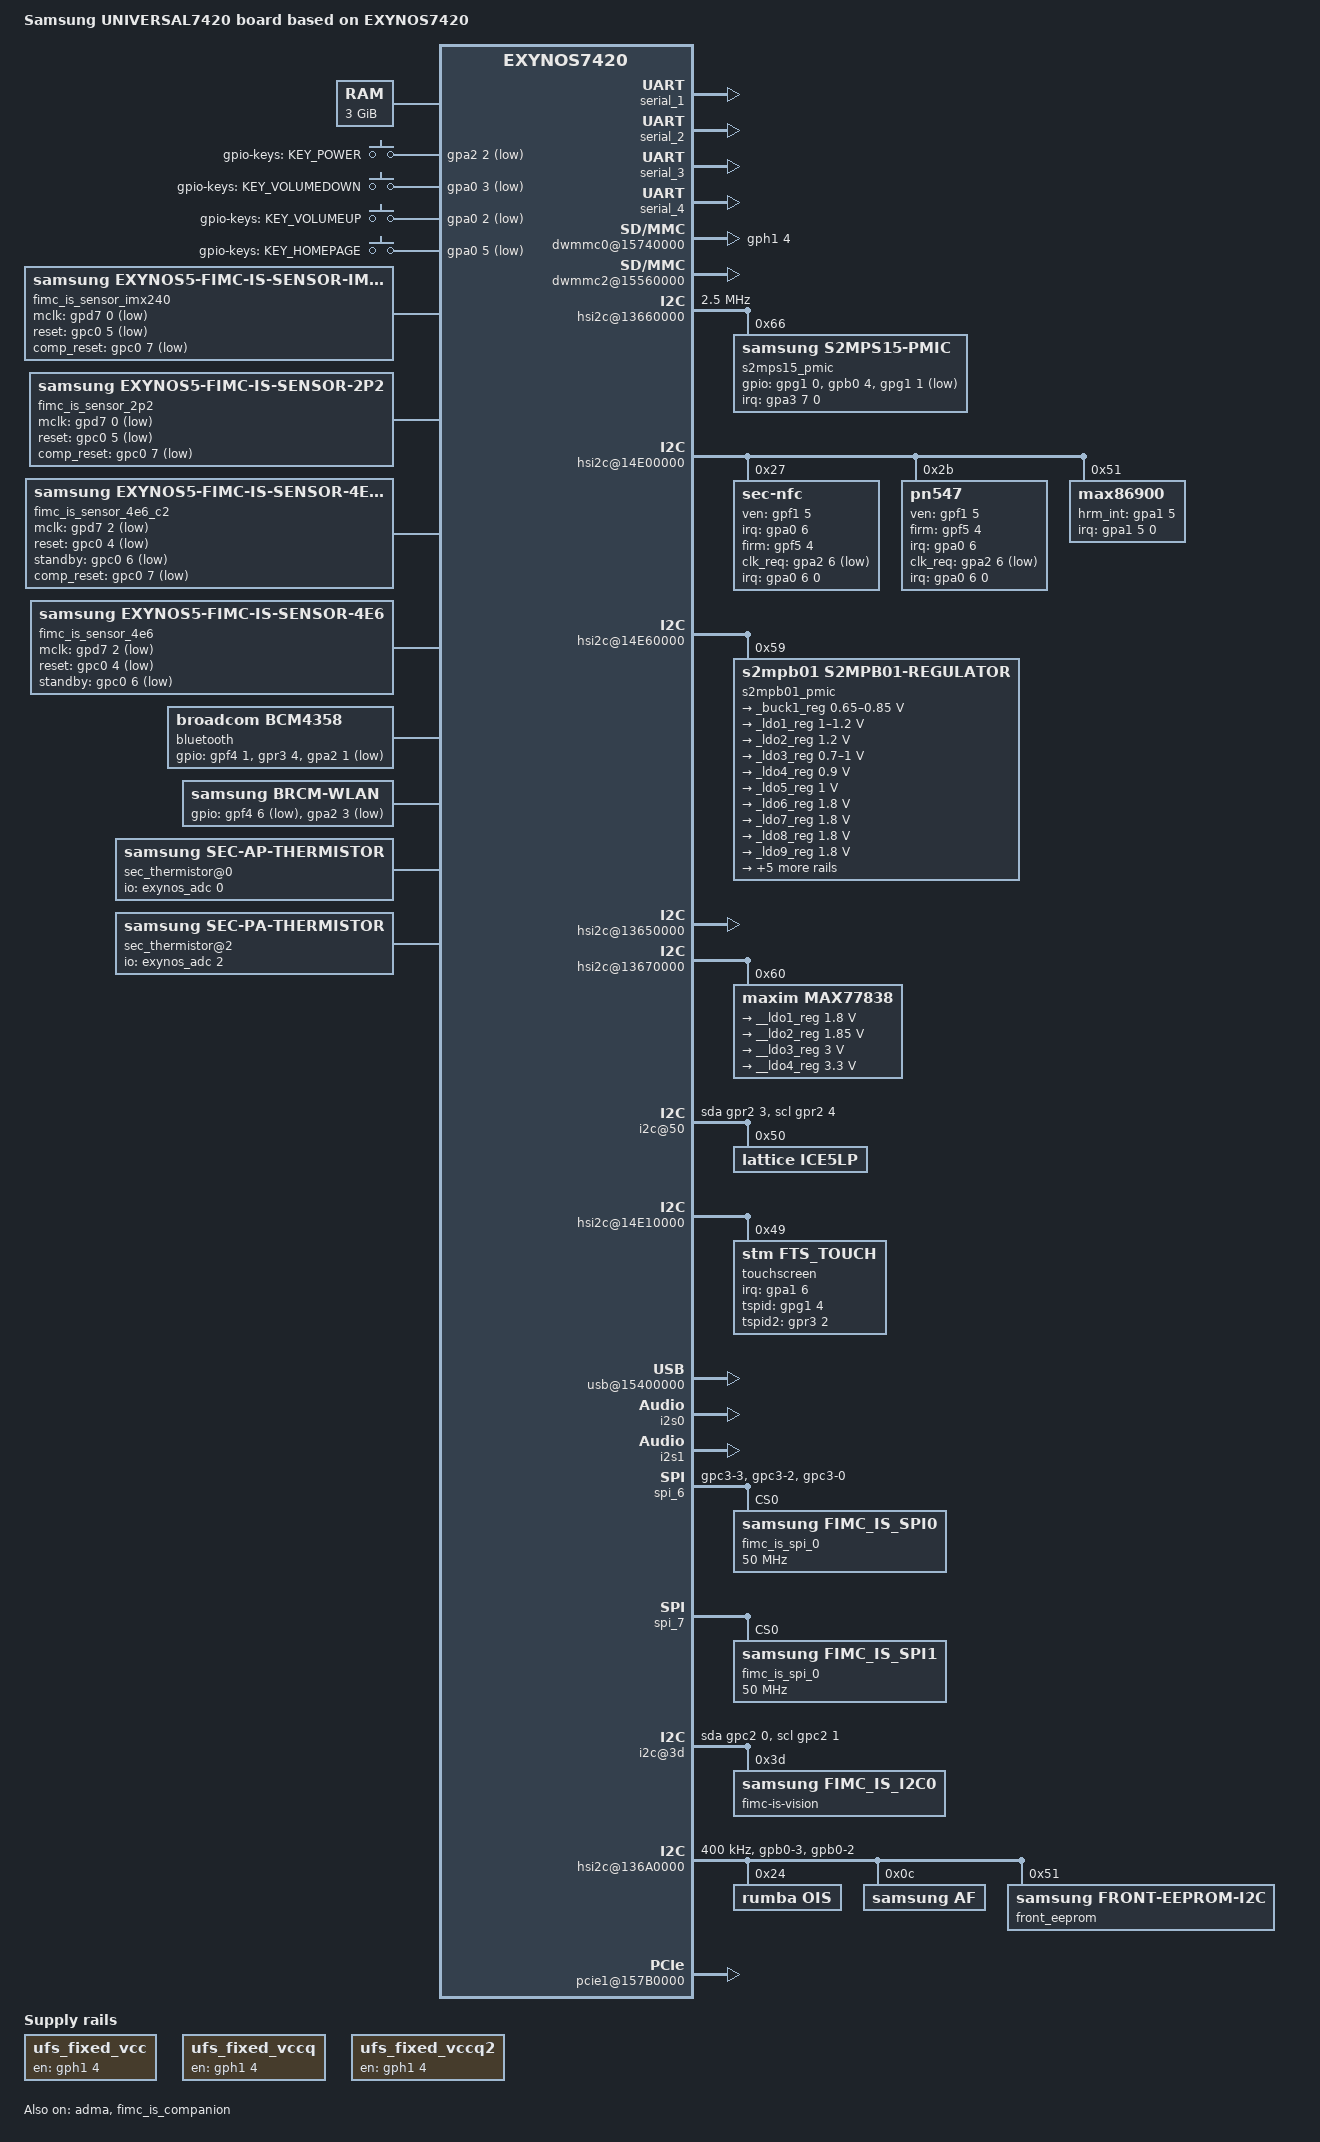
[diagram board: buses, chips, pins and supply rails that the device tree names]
/*
 * SAMSUNG UNIVERSAL7420 board device tree source
 *
 * Copyright (c) 2014 Samsung Electronics Co., Ltd.
 *		http://www.samsung.com
 *
 * This program is free software; you can redistribute it and/or modify
 * it under the terms of the GNU General Public License version 2 as
 * published by the Free Software Foundation.
*/

#include "exynos7420.dtsi"

/ {
	model = "Samsung UNIVERSAL7420 board based on EXYNOS7420";
	compatible = "samsung,exynos7420", "samsung,UNIVERSAL7420";

	memory@40000000 {
		device_type = "memory";
		reg = <0x40000000 0xC0000000>;
	};

	reserved-memory {
		#address-cells = <1>;
		#size-cells = <1>;
		ranges;

		common {
			compatible = "exynos5433-ion,common";
			size = <0x600000>;
			alignment = <0x1000>;
			id = <0>;
		};

		video {
			compatible = "exynos5433-ion,video";
			secure;
			reg = <0xE2A00000 0xE400000>;
			id = <11>;
			compat-id = <4 5 6 7>;
		};

		video_ext {
			compatible = "exynos5433-ion,video_ext";
			secure;
			reg = <0xF0E00000 0x600000>;
			id = <1>;
		};

		mfc_fw {
			compatible = "exynos5433-ion,mfc_fw";
			secure;
			reg = <0xE2800000 0x200000>;
			id = <8>;
		};

		mfc_nfw {
			compatible = "exynos5433-ion,mfc_nfw";
			reg = <0xE2600000 0x110000>;
			id = <12>;
		};

		secdma {
			compatible = "exynos5433-ion,secdma";
			size = <0x40000>;
			alignment = <0x40000>;
			id = <13>;
		};

		mipi_lli_reserved: mipi_lli {
			compatible = "mipi-lli-shmem";
			#memory-region-cells = <0>;
			size = <0x800000>;
			alignment = <0x800000>;
		};

		iram_vector {
			compatible = "mali,iram-vector";
			reg = <0xF2A00000 0x200000>;
		};

		sss_debug {
			compatible = "secure,sss-debug";
			reg = <0xF2C00000 0x100000>;
		};
	};

	aliases {
		spi0 = &spi_0;
		spi1 = &spi_1;
		spi2 = &spi_2;
		spi3 = &spi_3;
		spi4 = &spi_4;
		spi5 = &spi_5;
		spi6 = &spi_6;
		spi7 = &spi_7;
	};

	chosen {
		bootargs = "console=ttySAC1,115200n8 ess_setup=0x46000000";
		linux,initrd-start = <0x42000000>;
		linux,initrd-end = <0x420FFFFF>;
	};

	fixed-rate-clocks {
		oscclk {
			compatible = "samsung,exynos7420-oscclk";
			clock-frequency = <24000000>;
		};
	};

	ion {
		compatible = "samsung,exynos5430-ion";
	};

	serial_1: uart@14C20000 {
		/* Enable UART channel for debug port */
		status = "okay";
	};

	serial_2: uart@14C30000 {
		status = "okay";
	};

	serial_3: uart@14C40000 {
		status = "okay";
	};

	serial_4: uart@11460000 {
		pinctrl-0 = <&uart_bt_active &uart_bt_output_sleep &uart_bt_input_sleep>;
		status = "okay";
	};
	dwmmc0@15740000 {
		status = "okay";
		num-slots = <1>;
		broken-cd;
		use-smu;
		fixed_volt;
		biu-clock-gate;
		clock-gate;
		enable-cclk-on-suspend;
		only_once_tune;
		use-fine-tuning;
		bypass-for-allpass;
		supports-highspeed;
		supports-hs200-mode;
		supports-ddr200-mode;
		enable-cache-control;
		use-enable-shift;
		qos_int_level = <468000>;
		desc-size = <3>;
		fifo-depth = <0x40>;
		card-detect-delay = <200>;
		samsung,dw-mshc-ciu-div = <3>;
		samsung,dw-mshc-sdr-timing = <3 0 2 0>;
		samsung,dw-mshc-ddr-timing = <3 0 3 2>;
		samsung,dw-mshc-hs200-timing = <3 0 3 1>;
		samsung,dw-mshc-ddr200-timing = <1 0 2 2>;
		samsung,dw-mshc-ddr200-delay-line = <118>;
		clk_pin = "gpr0-0";
		clk_addr = "15690000.pinctrl";
		clk_val = <0x4>;
		clk_str_num = <6>;
		num-ref-clks = <8>;
		ciu_clkin = <25 50 50 100 200 100 200 400>;
		pinctrl-names = "default";
		pinctrl-0 = <&sd0_clk &sd0_cmd &sd0_rdqs &sd0_bus1 &sd0_bus4 &sd0_bus8>;
		gpios = <&gph1 4 0>;
		slot@0 {
			reg = <0>;
			bus-width = <8>;
		};
	};

	dwmmc2@15560000 {
		status = "okay";
		num-slots = <1>;
		supports-highspeed;
		enable-cclk-on-suspend;
		cd-type = <0>;
		bypass-smu;
		biu-clock-gate;
		clock-gate;
		use-fine-tuning;
		fifo-depth = <0x40>;
		card-detect-delay = <200>;
		qos_int_level = <468000>;
		desc-size = <3>;
		bypass-for-allpass;
		fix-fmp-size-mismatch;
		not-allow-single-dma;
		samsung,dw-mshc-ciu-div = <3>;
		samsung,dw-mshc-sdr-timing = <3 0 3 2>;
		samsung,dw-mshc-ddr-timing = <3 0 2 1>;
		clk_pin = "gpr4-0";
		clk_addr = "10E60000.pinctrl";
		clk_val = <0x2>;
		clk_str_num = <6>;
		num-ref-clks = <8>;
		ciu_clkin = <25 50 50 100 200 100 200 400>;
		pinctrl-names = "default";
		pinctrl-0 = <&sd2_clk &sd2_cmd &sd2_bus1 &sd2_bus4>;
		gpio-controller;
		#gpio-cells = <2>;
		cd-gpio = <&gpa2 4 0xf>;

		slot@0 {
			reg = <0>;
			bus-width = <4>;
			disable-wp;
		};
	};

	pinctrl@10580000 {
		hall_irq: hall-irq {
			samsung,pins = "gpa0-1";
			samsung,pin-function = <0xf>;
			samsung,pin-pud = <0>;
			samsung,pin-drv = <0>;
		};

		certify_hall_irq: certify-hall-irq {
                        samsung,pins = "gpa0-4";
                        samsung,pin-function = <0xf>;
                        samsung,pin-pud = <0>;
                        samsung,pin-drv = <0>;
                };

		pmic_irq: pmic-irq {
			samsung,pins = "gpa3-7";
			samsung,pin-pud = <3>;
			samsung,pin-drv = <3>;
		};

		ssp_host_req: ssp-host-req {
			samsung,pins = "gpa3-6";
			samsung,pin-function = <0xf>;
			samsung,pin-pud = <1>;
			samsung,pin-drv = <3>;
		};

		ssp_host_wake: ssp-host-wake {
			samsung,pins = "gpa3-2";
			samsung,pin-function = <0>;
			samsung,pin-pud = <3>;
			samsung,pin-drv = <3>;
		};

		ssp_host_wake_irq: ssp-host-wake-irq {
			samsung,pins = "gpa3-2";
			samsung,pin-function = <0xf>;
			samsung,pin-pud = <1>;
			samsung,pin-drv = <3>;
		};
	};

	pinctrl@14870000 {
		ssp_gps_pwr_en: ssp-gps-pwr-en {
			samsung,pins = "gpf4-7";
			samsung,pin-function = <1>;
			samsung,pin-pud = <0>;
			samsung,pin-drv = <3>;
		};

		ssp_mcu_req: ssp-mcu-req {
			samsung,pins = "gpf4-5";
			samsung,pin-function = <1>;
			samsung,pin-pud = <0>;
			samsung,pin-drv = <3>;
		};

		ssp_mcu_resp: ssp-mcu-resp {
			samsung,pins = "gpf4-4";
			samsung,pin-function = <0>;
			samsung,pin-pud = <3>;
			samsung,pin-drv = <3>;
		};
	};

	pinctrl@13470000 {
		spi1_mosi_sck_ssn: spi1-mosi-sck-ssn {
			samsung,pins = "gpd6-2", "gpd6-3", "gpd6-5";
			samsung,pin-function = <2>;
			samsung,pin-pud = <3>;
			samsung,pin-drv = <3>;
		};

		spi1_miso: spi1-miso {
			samsung,pins = "gpd6-4";
			samsung,pin-function = <2>;
			samsung,pin-pud = <1>;
			samsung,pin-drv = <3>;
		};

		fimc_is_flash_host: fimc-is-flash-host {
			samsung,pins = "gpc0-2", "gpc0-3";
			samsung,pin-function = <1>;
			samsung,pin-pud = <1>;
			samsung,pin-drv = <0>;
		};

		fimc_is_flash_is: fimc-is-flash-is {
			samsung,pins = "gpc0-2", "gpc0-3";
			samsung,pin-function = <2>;
			samsung,pin-pud = <1>;
			samsung,pin-drv = <0>;
		};

		fimc_is_comp_int: fimc-is-comp-int {
			samsung,pins = "gpc0-0";
			samsung,pin-function = <0xf>;
			samsung,pin-pud = <0>;
			samsung,pin-drv = <0>;
		};

		fimc_is_spi_pin0: fimc-is-spi-pin0 {
			samsung,pins = "gpc3-3", "gpc3-2", "gpc3-0";
			samsung,pin-function = <0>;
			samsung,pin-pud = <1>;
			samsung,pin-drv = <3>;
		};
	};

	pinctrl@14870000 {
		g3d_dvs: g3d-dvs {
			samsung,pins = "gpg1-1";
			samsung,pin-function = <0x2>;
		};

		/* Warm reset information from AP */
		pm_wrsti: pm-wrsti {
			samsung,pins = "gpf3-0";
			samsung,pin-con-pdn = <3>;
		};

		/* smpl_warn */
		smpl_warn: smpl-warn {
			samsung,pins = "gpg1-0";
			samsung,pin-function = <0xf>;
			samsung,pin-pud = <0>;
		};
	};

	hall {
		status = "okay";
		compatible = "hall";
		pinctrl-names = "default";
		pinctrl-0 = <&hall_irq>;
		hall,gpio_flip_cover = <&gpa0 1 0>;
	};

	certify_hall {
		status = "okay";
		compatible = "certify_hall";
		pinctrl-names = "default";
		pinctrl-0 = <&certify_hall_irq>;
		certify_hall,gpio_certify_cover = <&gpa0 4 0>;
	};

	haptic {
		status = "okay";
		haptic,max_timeout = <10000>;
		haptic,duty = <30500>;
		haptic,period = <33670>;
		haptic,reg2 = <0x82>;
		haptic,pwm_id = <1>;
		haptic,regulator_name = "VCC_MOTOR_3.0";
	};

	rgb {
		device_type = <0>;
		rgb-name = "led_w", "led_r", "led_g", "led_b";

		normal_powermode_current = <10>;
		low_powermode_current = <2>;
		br_ratio_r = <100>;
		br_ratio_g = <100>;
		br_ratio_b = <100>;

		normal_powermode_current_wh = <10>;
		low_powermode_current_wh = <2>;
		br_ratio_r_wh = <80>;
		br_ratio_g_wh = <60>;
		br_ratio_b_wh = <150>;

		normal_powermode_current_bk = <10>;
		low_powermode_current_bk = <2>;
		br_ratio_r_bk = <100>;
		br_ratio_g_bk = <40>;
		br_ratio_b_bk = <40>;

		normal_powermode_current_gd = <10>;
		low_powermode_current_gd = <2>;
		br_ratio_r_gd = <50>;
		br_ratio_g_gd = <30>;
		br_ratio_b_gd = <150>;

		normal_powermode_current_gr = <10>;
		low_powermode_current_gr = <2>;
		br_ratio_r_gr = <70>;
		br_ratio_g_gr = <30>;
		br_ratio_b_gr = <40>;

		normal_powermode_current_rd = <10>;
		low_powermode_current_rd = <2>;
		br_ratio_r_rd = <90>;
		br_ratio_g_rd = <30>;
		br_ratio_b_rd = <50>;
	};

	hsi2c@13660000 {
		status = "okay";
		samsung,hs-mode;
		clock-frequency = <2500000>;
		samsung,use-apm;

		s2mps15_pmic@66 {
			compatible = "samsung,s2mps15-pmic";
			reg = <0x66>;
			interrupts = <7 0 0>;
			interrupt-parent = <&gpa3>;
			pinctrl-names = "default";
			pinctrl-0 = <&pmic_irq &pm_wrsti &g3d_dvs &smpl_warn>;
			gpios = <&gpg1 0 0>, <&gpb0 4 0x2>, <&gpg1 1 0x1>;
			smpl_warn_en = <1>; /* 1 : enable , 0 : disable*/
			/* range of smpl_warn_vth */
			/* PMIC1 */
			/* 2100 : 2.3V, 2300 : 2.3V, 2500 : 2.5V, 2700 : 2.7V 2900 : 2.9V */
			/* 3100 : 3.0V, 3300 : 3.0V, 3500 : 3.0V */
			/* PMIC2 */
			/* 2100 : 2.1V, 2300 : 2.3V, 2500 : 2.5V, 2700 : 2.7V 2900 : 2.9V */
			/* 3100 : 3.1V, 3300 : 3.3V, 3500 : 3.5V */
			smpl_warn_vth = <2900>;
			smpl_warn_hys = <0x18>; /* LOwBat_Hys[4:3] 00(100mV)~11(400mV) */
			adc-on;
			buck_dvs_on;
			g3d_en = <1>; /* 1 : enable , 0 : disable */
			dvs_en = <1>; /* 1 : enable , 0 : disable */
			buck6en_pin = "gpb0-4";
			buck6en_addr = "13470000.pinctrl";
			/* RTC: wtsr/smpl */
			wtsr_en = <1>; /* enable */
			smpl_en = <1>; /* enable */
			wtsr_timer_val = <3>;	/* 1000ms */
			smpl_timer_val = <0>;	/* 100ms FIXME!!! */
			check_jigon = <0>; /* do not check jigon */
			/* RTC: If it's first boot, reset rtc to 1/1/2015 12:00:00(THU) */
			init_time,sec = <0>;
			init_time,min = <0>;
			init_time,hour = <12>;
			init_time,mday = <1>;
			init_time,mon = <0>;
			init_time,year = <115>;
			init_time,wday = <4>;
		};
	};

	hsi2c@14E00000 {
		/delete-property/ pinctrl-names;
		/delete-property/ pinctrl-0;
		/delete-property/ gpio_sda;
		/delete-property/ gpio_scl;
		status = "okay";
		sec-nfc@27 {
			compatible = "sec-nfc";
			reg = <0x27>;

			interrupts = <6 0 0>;
			interrupt-parent = <&gpa0>;

			sec-nfc,ven-gpio = <&gpf1 5 0>;
			sec-nfc,irq-gpio = <&gpa0 6 0>;
			sec-nfc,firm-gpio = <&gpf5 4 0>;
			sec-nfc,clk_req-gpio = <&gpa2 6 0xf>;
			sec-nfc,clk_use = <2>;
			pinctrl-names = "default";
			pinctrl-0 = <&nfc_n5_en &nfc_n5_firm>;
			clock-names = "sclk_isp_sensor1",
				"mout_sclk_isp_sensor1",
				"dout_sclk_isp_sensor1_a",
				"dout_sclk_isp_sensor1_b",
				"gate_top_cam1";
			clocks = <&clock 34>,
				<&clock 3067>,
				<&clock 4092>,
				<&clock 4093>,
				<&clock 2780>;
		};

		pn547@2B {
			compatible = "pn547";
			reg = <0x2B>;

			interrupts = <6 0 0>;
			interrupt-parent = <&gpa0>;

			pinctrl-names = "default";
			pinctrl-0 = <&nfc_pn547_en &nfc_n5_firm>;
			pn547,ven-gpio = <&gpf1 5 0>;
			pn547,firm-gpio = <&gpf5 4 0>;
			pn547,irq-gpio = <&gpa0 6 0>;
			pn547,clk_req-gpio = <&gpa2 6 0xf>;
			pn547,pwr_req = <&gpf5 1 0>;
		};

		max86900@51 {
			compatible = "max86900";
			reg = <0x51>;
			interrupt-parent = <&gpa1>;
			interrupts = <5 0 0>;
			max86900,hrm_int-gpio = <&gpa1 5 0>;
			max86900,vdd_1p8 = "HRM_VDD_1.8V";
			max86900,led_3p3 = "V_HRM_3.3V";
		};
	};

	hsi2c@14E60000 {
		status = "okay";

		s2mpb01_pmic@59 {
			compatible = "s2mpb01,s2mpb01-regulator";
			reg = <0x59>;

			regulators {
				_buck1_reg: BUCK1 {
					regulator-name = "VDDD_CORE_0.8V_COMP";
					regulator-min-microvolt = <650000>;
					regulator-max-microvolt = <850000>;
				};

				_ldo1_reg: LDO1 {
					regulator-name = "VDDD_1.2V_CAM";
					regulator-min-microvolt = <1000000>;
					regulator-max-microvolt = <1200000>;
				};

				_ldo2_reg: LDO2 {
					regulator-name = "VDDD_1.2V_VT";
					regulator-min-microvolt = <1200000>;
					regulator-max-microvolt = <1200000>;
				};

				_ldo3_reg: LDO3 {
					regulator-name = "VDDD_RET_1.0V_COMP";
					regulator-min-microvolt = <700000>;
					regulator-max-microvolt = <1000000>;
				};

				_ldo4_reg: LDO4 {
					regulator-name = "VDDD_NORET_0.9V_COMP";
					regulator-min-microvolt = <900000>;
					regulator-max-microvolt = <900000>;
				};

				_ldo5_reg: LDO5 {
					regulator-name = "VDDD_CORE_1.0V_COMP";
					regulator-min-microvolt = <1000000>;
					regulator-max-microvolt = <1000000>;
				};

				_ldo6_reg: LDO6 {
					regulator-name = "VDDIO_1.8V_CAM";
					regulator-min-microvolt = <1800000>;
					regulator-max-microvolt = <1800000>;
				};

				_ldo7_reg: LDO7 {
					regulator-name = "VDDIO_1.8V_VT";
					regulator-min-microvolt = <1800000>;
					regulator-max-microvolt = <1800000>;
				};

				_ldo8_reg: LDO8 {
					regulator-name = "VDDIO_1.8V_COMP";
					regulator-min-microvolt = <1800000>;
					regulator-max-microvolt = <1800000>;
				};

				_ldo9_reg: LDO9 {
					regulator-name = "VDDA_1.8V_COMP";
					regulator-min-microvolt = <1800000>;
					regulator-max-microvolt = <1800000>;
				};

				_ldo10_reg: LDO10 {
					regulator-name = "VDDA_2.9V_CAM";
					regulator-min-microvolt = <2800000>;
					regulator-max-microvolt = <2950000>;
				};

				_ldo11_reg: LDO11 {
					regulator-name = "VDDAF_2.8V_CAM";
					regulator-min-microvolt = <2800000>;
					regulator-max-microvolt = <2800000>;
				};

				_ldo12_reg: LDO12 {
					regulator-name = "VDDA_2.9V_VT";
					regulator-min-microvolt = <2900000>;
					regulator-max-microvolt = <2900000>;
				};

				_ldo13_reg: LDO13 {
					regulator-name = "OIS_VM_2.8V";
					regulator-min-microvolt = <2800000>;
					regulator-max-microvolt = <2800000>;
				};

				_ldo15_reg: LDO15 {
					regulator-name = "OIS_VDD_2.8V";
					regulator-min-microvolt = <2800000>;
					regulator-max-microvolt = <2800000>;
				};
			};
		};
	};

	hsi2c@13650000{
		status = "okay";

		max77833@66 {
			status = "disabled";
			compatible = "maxim,max77833";
			reg = <0x66>;
			pinctrl-names = "default";
			pinctrl-0 = <&chg_irq &vibetonz_pwm>;
			max77833,irq-gpio = <&gpa1 4 1>;
			max77833,wakeup;

			regulators {
				ESAFEOUT1 {
					regulator-compatible = "safeout1";
					regulator-name = "safeout1_range";
					regulator-min-microvolt = <3300000>;
					regulator-max-microvolt = <4900000>;
					regulator-boot-on;
				};

				ESAFEOUT2 {
					regulator-compatible = "safeout2";
					regulator-name = "safeout2_range";
					regulator-min-microvolt = <3300000>;
					regulator-max-microvolt = <4900000>;
				};
			};
		};

		max77843@66 {
			status = "disabled";
			compatible = "maxim,max77843";
			reg = <0x66>;
			pinctrl-names = "default";
			pinctrl-0 = <&chg_irq &vibetonz_pwm>;
			max77843,irq-gpio = <&gpa1 4 1>;
			max77843,wakeup;

			regulators {
				ESAFEOUT1 {
					regulator-compatible = "safeout1";
					regulator-name = "safeout1_range";
					regulator-min-microvolt = <3300000>;
					regulator-max-microvolt = <4900000>;
					regulator-boot-on;
				};

				ESAFEOUT2 {
					regulator-compatible = "safeout2";
					regulator-name = "safeout2_range";
					regulator-min-microvolt = <3300000>;
					regulator-max-microvolt = <4900000>;
				};
			};
		};
	};

	muic {
		status = "disabled";
		muic,support-list = "OTG","Charging Cable","Jig USB On","Jig UART Off",
				"Jig UART Off + VB","Jig UART On",
				"TA","USB","CDP","Undefined Charging",
				"Unofficial ID","Unofficial ID + TA","Unofficial ID + ANY TA",
				"Deskdock", "Deskdock + VB",
				"Unofficial ID + USB","Unofficial ID + CDP",
				"TA or AFC","AFC charger Prepare","AFC charger 5V","AFC charger 9V",
				"Fuelgauge test","HMT";
		muic,afcmode-tx = /bits/ 8 <0x46>;
		muic,qc-hv = /bits/ 8 <0x9>;
	};

	hsi2c@13670000 {
		status = "okay";

		max77838@60 {
			compatible = "maxim,max77838";
			reg = <0x60>;

			regulators {
				__ldo1_reg: LDO1 {
					regulator-name = "VCC_DISPLAY_1.8V";
					regulator-min-microvolt = <1800000>;
					regulator-max-microvolt = <1800000>;
					regulator-boot-on;
				};

				__ldo2_reg: LDO2 {
					regulator-name = "tsp_io";
					regulator-min-microvolt = <1850000>;
					regulator-max-microvolt = <1850000>;
				};

				__ldo3_reg: LDO3 {
					regulator-name = "VCC_3.0V_LCD";
					regulator-min-microvolt = <3000000>;
					regulator-max-microvolt = <3000000>;
					regulator-boot-on;
				};

				__ldo4_reg: LDO4 {
					regulator-name = "tsp_avdd";
					regulator-min-microvolt = <3300000>;
					regulator-max-microvolt = <3300000>;
				};
			};
		};
	};

	i2c@50 {
		compatible = "i2c-gpio";
		gpios = <&gpr2 3 0 /* sda */
			&gpr2 4 0 /* scl */
			>;
		i2c-gpio,delay-us = <2>;
		#address-cells = <1>;
		#size-cells = <0>;
		status = "okay";
		ice5lp@50 {
			compatible = "lattice,ice5lp";
			reg = <0x50>;
			ice5lp,creset_b = <&gpr2 1 0>;
			ice5lp,cdone = <&gpf5 6 0>;
			ice5lp,irda_irq = <&gpr2 2 0>;
			ice5lp,spi_si_sda = <&gpr2 3 0>;
			ice5lp,spi_clk_scl = <&gpr2 4 0>;
			ice5lp,spi_en_rstn = <&gpr2 0 0>;
			irled,power_type = "LDO";
			irled,ldo = <&gpf1 2 0>;
			clocks = <&clock 4300>;
			clock-names = "clk_out";
		};
	};

	pinctrl@10580000 {
		attn_irq: attn-irq {
			samsung,pins = "gpa1-6";
			samsung,pin-function = <0xf>;
			samsung,pin-pud = <0>;
			samsung,pin-drv = <0>;
		};
		attn_input: attn-input {
			samsung,pins = "gpa1-6";
			samsung,pin-function = <0>;
			samsung,pin-pud = <1>;
			samsung,pin-drv = <0>;
		};
	};

	gpio_keys {
		compatible = "gpio-keys";
		#address-cells = <1>;
		#size-cells = <0>;
		pinctrl-names = "default";
		button@1 {
			label = "gpio-keys: KEY_POWER";
			interrupts = <2 0 0>;
			interrupt-parent = <&gpa2>;
			linux,code = <116>;
			gpios = <&gpa2 2 0xf>;
			gpio-key,wakeup = <1>;
		};
		button@2 {
			label = "gpio-keys: KEY_VOLUMEDOWN";
			interrupts = <3 0 0>;
			interrupt-parent = <&gpa0>;
			linux,code = <114>;
			gpios = <&gpa0 3 0xf>;
		};
		button@3 {
			label = "gpio-keys: KEY_VOLUMEUP";
			interrupts = <2 0 0>;
			interrupt-parent = <&gpa0>;
			linux,code = <115>;
			gpios = <&gpa0 2 0xf>;
		};
		button@4 {
			label = "gpio-keys: KEY_HOMEPAGE";
			interrupts = <5 0 0>;
			interrupt-parent = <&gpa0>;
			linux,code = <172>;
			gpios = <&gpa0 5 0xf>;
			gpio-key,wakeup = <1>;
		};
	};

	pinctrl@14CE0000 {
		hs_i2c7_bus: hs-i2c7-bus {
			samsung,pins = "gpj1-1", "gpj1-0";
			samsung,pin-pud = <0>;
			samsung,pin-drv = <0>;
			samsung,pin-con-pdn = <2>;
			samsung,pin-pud-pdn = <1>;
		};
	};

	hsi2c@14E10000 {
		/delete-property/ pinctrl-names;
		/delete-property/ pinctrl-0;
		/delete-property/ gpio_sda;
		/delete-property/ gpio_scl;
		status = "okay";
		touchscreen@20 {
			compatible = "stm,fts_touch";
			reg = <0x49>;
			pinctrl-names = "on_state", "off_state";
			pinctrl-0 = <&attn_irq>;
			pinctrl-1 = <&attn_input>;
			stm,irq_gpio = <&gpa1 6 0>;
			stm,irq_type = <8200>;
			stm,num_lines = <28 16>;		/* rx tx */
			stm,max_coords = <4095 4095>;	/* x y */
			stm,grip_area = <512>;
			stm,regulator_dvdd = "tsp_io";
			stm,regulator_avdd = "tsp_avdd";
			stm,project_name = "ZERO", "G925";
			stm,tspid_gpio = <&gpg1 4 0>;
			stm,tspid2_gpio = <&gpr3 2 0>;
		};
	};

	usb@15400000 {
		status = "okay";

		dwc3 {
			maximum-speed = "high-speed";
			dr_mode = "otg";
			adj-sof-accuracy;
		};
	};

	ipa_pdata {
		compatible = "samsung,exynos-ipa";

		control_temp = <90>;
		temp_threshold = <10>;
		enabled = <1>;
		tdp = <3500>;
		boost = <1>;
		ros_power = <500>;
		little_weight = <1024>;
		big_weight = <256>;
		gpu_weight = <256>;
		little_max_power = <1000>;
		big_max_power = <6552>;
		gpu_max_power = <3110>;
		hotplug_out_threshold = <10>;
		hotplug_in_threshold = <0>;
		enable_ctlr = <1>;
		ctlr.mult = <2>;
		ctlr.k_i = <1>;
		ctlr.k_d = <0>;
		ctlr.feed_forward = <1>;
		ctlr.integral_reset_value = <0>;
		ctlr.integral_cutoff = <0>;
		ctlr.integral_reset_threshold = <5>;
	};

	decon_0: decon_fb {
		/* EINT for TE */
		gpios = <&gpg0 0 0xf>;
		gpio_err = <&gpr3 7 0>;
		gpio_det = <&gpr3 1 0>;
		te_eint {
			reg = <0x13470A34 0x4>, <0x13470934 0x4>;
			te_pend_mask = <0x00000001>;
		};
	};

	hdmi@13970000 {
		/* all bit clock supports: 1, not support: 0 */
		audio_master_clk = <1>;
	};

	i2s0: i2s@11440000 {
		/*samsung,supports-esa-dma;*/
		/*samsung,supports-sec-compr;*/
		status = "okay";
	};

	i2s1: i2s@14D60000 {
		status = "okay";
	};

	audio_codec_dummy: dummy-codec {
		compatible = "samsung,dummy-codec";
		status = "okay";
	};

	i2s_dummy: dummy-i2s {
		compatible = "samsung,dummy-i2s";
		status = "okay";
	};

	sound {
		compatible = "samsung,pacific-arizona";
		samsung,audio-cpu = <
			&i2s0	/* primary */
			&i2s_dummy
			&i2s_dummy
			&i2s0			/* secondary */
			&i2s_dummy		/* voice wakeup */
			&i2s_dummy		/* dsp trace */
			&eax			/* eax0 ~ 3 */
			&eax
			&eax
			&eax
		>;
		samsung,audio-codec = <
			&audio_codec
			&audio_codec
			&audio_codec
			&audio_codec
			&audio_codec_dummy
			&audio_codec_dummy
			&audio_codec
			&audio_codec
			&audio_codec
			&audio_codec
		>;
		clocks = <&clock 45>;
		clock-names = "mclk";
		status = "okay";
	};

	amba {
		adma: adma@11420000 {
			compatible = "arm,pl330", "arm,primecell";
			reg = <0x11420000 0x1000>;
			interrupts = <0 97 0>;
			clocks = <&clock 400>;
			clock-names = "apb_pclk";
			#dma-cells = <1>;
			#dma-channels = <8>;
			#dma-requests = <16>;
			#dma-mcode-addr = <0x03047000>;
			samsung,lpass-subip;
			status = "ok";
		};
	};

	spi_6: spi@14390000 {
		/*clocks = <&clock 2626>, <&clock 4083>;*/ /* Workaround for SPI read in A5 */
		/* clock-names = "spi", "spi_busclk0";*/   /* Must be removed later */
		#address-cells = <1>;
		#size-cells = <0>;
		pinctrl-names = "default";
		pinctrl-0 = <&fimc_is_spi_pin0 &fimc_is_spi_ssn0>;

		num-cs = <1>;

		fimc_is_spi_0@0 {
			compatible = "samsung,fimc_is_spi0";
			spi-max-frequency = <50000000>;
			reg = <0x0>;
			fimc_is_spi_pinname = "13470000.pinctrl";
			fimc_is_spi_clk = "gpc3-0";
			fimc_is_spi_ssn = "gpc3-1";
			fimc_is_spi_miso = "gpc3-2";
			fimc_is_spi_mosi = "gpc3-3";

			controller-data {
				cs-gpio = <&gpc3 1 0>;
				samsung,spi-feedback-delay = <1>;
			};
		};
	};

	spi_7: spi@143A0000 {
		/*clocks = <&clock 2626>, <&clock 4083>;*/ /* Workaround for SPI read in A5 */
		/* clock-names = "spi", "spi_busclk0";*/   /* Must be removed later */
		#address-cells = <1>;
		#size-cells = <0>;
		pinctrl-names = "default";
		pinctrl-0 = <&fimc_is_spi_pin1 &fimc_is_spi_ssn1>;

		num-cs = <1>;

		fimc_is_spi_0@0 {
			compatible = "samsung,fimc_is_spi1";
			spi-max-frequency = <50000000>;
			reg = <0x0>;
			fimc_is_spi_pinname = "13470000.pinctrl";
			fimc_is_spi_clk = "gpc3-4";
			fimc_is_spi_ssn = "gpc3-5";
			fimc_is_spi_miso = "gpc3-6";
			fimc_is_spi_mosi = "gpc3-7";

			pinctrl-names = "default";
			pinctrl-0 = <&fimc_is_comp_int>;

			controller-data {
				cs-gpio = <&gpc3 5 0>;
				samsung,spi-feedback-delay = <0>;
			};
		};
	};

	i2c@1c {
		compatible = "i2c-gpio";
		gpios = <&gpf5 3 0 &gpf5 2 0>;
		i2c-gpio,delay-us = <2>;
		#address-cells = <1>;
		#size-cells = <0>;
		pinctrl-names = "default";
		pinctrl-0 = <&fimc_is_vision>;
		status = "disabled";
		fimc-is-vision@20 {
			compatible = "samsung,exynos5-fimc-is-sensor-6d1";
			reg = <0x35>;
		};
	};

	i2c@3d{
		compatible = "i2c-gpio";
		gpios = <&gpc2 0 0 /* sda */
			&gpc2 1 0 /* scl */
			>;
		i2c-gpio,delay-us = <2>;
		#address-cells = <1>;
		#size-cells = <0>;
		status = "okay";

		fimc-is-vision@3d {
			compatible = "samsung,fimc_is_i2c0";
			reg = <0x3d>;
		};
	};

	/* Companion driver */
	fimc_is_companion: fimc_is_companion@14020000 {
		compatible = "samsung,exynos5-fimc-is-companion";
		samsung,power-domain = <&pd_cam1>;
		clock-names =
			/* SENSOR1 MCLK */
			"sclk_isp_sensor1",		/* 17 */
			"dout_sclk_isp_sensor1",		/* 21 */
			"mout_sclk_isp_sensor1",		/* 24 */

			/* SPI-ISP */
			"gate_isp_spi1",			/* 2625 */
			"gate_isp_spi0",			/* 2626 */
			"dout_sclk_isp_spi0",		/* 2030 */
			"dout_sclk_isp_spi1",		/* 2031 */
			"mout_user_mux_sclk_isp_spi0",	/* 3296 */
			"mout_user_mux_sclk_isp_spi1",	/* 3297 */

			"dout_clkdiv_pclk_cam1_busperi_167",	/* 3317 */
			"dout_clkdiv_pclk_cam1_busperi_84",		/* 3318 */
			"mout_user_mux_aclk_cam1_busperi_334",	/* 3292 */
			"mout_user_mux_aclk_cam1_bnscsis_133",	/* 3293 */

			/* CMU TOP */
			"dout_aclk_cam1_333",	   /* 4047 */

			/* USER_MUX_SEL */
			"aclk_cam1_333",			/* 342 */
			"mout_aclk_cam1_333_user";		/* 3225 */
		clocks =
			/* SENSOR1 MCLK */
			<&clock 17>,
			<&clock 21>,
			<&clock 24>,

			/* SPI-ISP */
			<&clock 2625>,
			<&clock 2626>,
			<&clock 2030>,
			<&clock 2031>,
			<&clock 3296>,
			<&clock 3297>,

			<&clock 3317>,
			<&clock 3318>,
			<&clock 3292>,
			<&clock 3293>,

			/* CMU TOP */
			<&clock 4047>,

			/* USER_MUX_SEL */
			<&clock 342>,
			<&clock 3225>;
		scenario = <0>;	/* Normal, Vision, OIS etc */
		id = <0>; /* bns_id */
		mclk_ch = <1>;
		comp_int_pin = "gpc0-0"; /* Companion PAF INT */
		comp_int_pinctrl = "13470000.pinctrl";
		status = "okay";
	};

	fimc_is_sensor_imx240: fimc-is_sensor_imx240@34 {
		compatible = "samsung,exynos5-fimc-is-sensor-imx240";

		pinctrl-names = "pin0", "pin1", "pin2";
		pinctrl-0 = <>;
		pinctrl-1 = <&fimc_is_flash_is &fimc_is_mclk0_out &fimc_is_mclk1_out &fimc_is_i2c0 &fimc_is_i2c2>;
		pinctrl-2 = <&fimc_is_flash_is &fimc_is_mclk0_fn &fimc_is_mclk1_fn &fimc_is_i2c0 &fimc_is_i2c2>;

		position = <0>;	/* Rear:0. Front:1 */
		id = <0>; /* bns_id */
		mclk_ch = <0>;
		sensor_i2c_ch = <0>; /* I2C 0 */
		sensor_i2c_addr = <0x34>;

		gpio_mclk = <&gpd7 0 0x1>;
		gpio_reset = <&gpc0 5 0x1>; /* sensor reset */
		gpio_comp_reset = <&gpc0 7 0x1>; /* companion reset */
		status = "okay";

		af {
			product_name = <7>; /* AK7345 */
			i2c_addr = <0x5A>;
			i2c_ch = <2>; /* I2C 2 */
		};

		flash {
			product_name = <3>; /* S2MPB02 */
			flash_first_gpio = <2>;
			flash_second_gpio = <3>;
		};

		companion {
			product_name = <2>; /* 73C2 */
			spi_channel = <1>;
			i2c_addr = <0x7A>;
			i2c_ch = <0>; /* I2C 0*/
		};

		ois {
			product_name = <1>; /* IDG2030 */
			i2c_addr = <0x48>;
			i2c_ch = <2>; /* I2C 2 */
		};
	};

	fimc_is_sensor_2p2: fimc-is_sensor_2p2@5A {
		compatible = "samsung,exynos5-fimc-is-sensor-2p2";

		pinctrl-names = "pin0", "pin1", "pin2";
		pinctrl-0 = <>;
		pinctrl-1 = <&fimc_is_flash_is &fimc_is_mclk0_out &fimc_is_mclk1_out &fimc_is_i2c0 &fimc_is_i2c2>;
		pinctrl-2 = <&fimc_is_flash_is &fimc_is_mclk0_fn &fimc_is_mclk1_fn &fimc_is_i2c0 &fimc_is_i2c2>;

		position = <0>;	/* Rear:0. Front:1 */
		id = <0>; /* bns_id */
		mclk_ch = <0>;
		sensor_i2c_ch = <0>; /* I2C 0 */
		sensor_i2c_addr = <0x5A>;

		gpio_mclk = <&gpd7 0 0x1>;
		gpio_reset = <&gpc0 5 0x1>; /* sensor reset */
		gpio_comp_reset = <&gpc0 7 0x1>; /* companion reset */
		status = "okay";

		af {
			product_name = <7>; /* AK7345 */
			i2c_addr = <0x5A>;
			i2c_ch = <2>; /* I2C 2 */
		};

		flash {
			product_name = <3>; /* S2MPB02 */
			flash_first_gpio = <2>;
			flash_second_gpio = <3>;
		};

		companion {
			product_name = <2>; /* 73C2 */
			spi_channel = <1>;
			i2c_addr = <0x7A>;
			i2c_ch = <0>; /* I2C 0*/
		};

		ois {
			product_name = <1>; /* IDG2030 */
			i2c_addr = <0x48>;
			i2c_ch = <2>; /* I2C 2 */
		};
	};

	hsi2c@136A0000 {
		status = "okay";
		clock-frequency = <400000>;
		pinctrl-names = "default","on_i2c","off_i2c";
		pinctrl-0 = <&fimc_is_hsi2c_off>;
		pinctrl-1 = <&fimc_is_ois_hsi2c_on>;
		pinctrl-2 = <&fimc_is_hsi2c_off>;
		ois@24{
			compatible = "rumba,ois";
			reg = <0x24>;
			fimc_is_ois_pinname = "13470000.pinctrl";
			fimc_is_ois_sda = "gpc2-4";
			fimc_is_ois_scl = "gpc2-5";
		};

		af@0c{
			compatible = "samsung,af";
			reg = <0x0c>;
			fimc_is_af_pinname = "13470000.pinctrl";
			fimc_is_af_sda = "gpc2-4";
			fimc_is_af_scl = "gpc2-5";
		};

		front_eeprom@51 {
			compatible = "samsung,front-eeprom-i2c";
			reg = <0x51>;
			fimc_is_front_eeprom_pinname = "13470000.pinctrl";
			fimc_is_front_eeprom_sda = "gpb2-4";
			fimc_is_front_eeprom_scl = "gpb2-5";
		};
	};

	fimc_is_sensor_4e6_c2: fimc-is_sensor_4e6_c2@6A {
		compatible = "samsung,exynos5-fimc-is-sensor-4e6-c2";

		pinctrl-names = "pin0", "pin1", "pin2";
		pinctrl-0 = <>;
		pinctrl-1 = <&fimc_is_flash_is &fimc_is_mclk1_out &fimc_is_mclk2_out &fimc_is_i2c0 &fimc_is_i2c1>;
		pinctrl-2 = <&fimc_is_flash_is &fimc_is_mclk1_fn &fimc_is_mclk2_fn &fimc_is_i2c0 &fimc_is_i2c1>;

		position = <1>;	/* Rear:0. Front:1 */
		id = <0>; /* bns_id */
		mclk_ch = <2>;
		sensor_i2c_ch = <1>;
		sensor_i2c_addr = <0x6A>;

		gpio_mclk = <&gpd7 2 0x1>;
		gpio_reset = <&gpc0 4 0x1>;
		gpio_standby = <&gpc0 6 0x1>;
		gpio_comp_reset = <&gpc0 7 0x1>; /* companion reset */
		status = "okay";

		companion {
			product_name = <2>; /* 73C2 */
			spi_channel = <1>;
			i2c_addr = <0x7A>;
			i2c_ch = <0>; /* I2C 0*/
		};
	};

	fimc_is_sensor_4e6: fimc-is_sensor_4e6@6A {
		compatible = "samsung,exynos5-fimc-is-sensor-4e6";

		pinctrl-names = "pin0", "pin1", "pin2";
		pinctrl-0 = <>;
		pinctrl-1 = <&fimc_is_mclk2_out &fimc_is_i2c1>;
		pinctrl-2 = <&fimc_is_mclk2_fn &fimc_is_i2c1>;

		position = <1>;	/* Rear:0. Front:1 */
		id = <1>; /* bns_id */
		mclk_ch = <2>;
		sensor_i2c_ch = <1>;
		sensor_i2c_addr = <0x6A>;

		gpio_mclk = <&gpd7 2 0x1>;
		gpio_reset = <&gpc0 4 0x1>;
		gpio_standby = <&gpc0 6 0x1>;
		status = "okay";
	};

	fimc_is_sensor0: fimc_is_sensor@14020000 {
		scenario = <0>;	/* Normal, Vision, OIS etc */
		id = <0>; /* bns_id */
		csi_ch = <0>;
		flite_ch = <0>;
		is_bns = <1>;
		status = "okay";
	};

	fimc_is_sensor1: fimc_is_sensor@14030000 {
		scenario = <0>;	/* Normal, Vision, OIS etc */
		id = <1>; /* bns_id */
		csi_ch = <1>;
		flite_ch = <1>;
		is_bns = <0>;
		status = "okay";
	};

	fimc_is_sensor2: fimc_is_sensor@14110000 {
		scenario = <0>;	/* Normal, Vision, OIS etc */
		id = <2>; /* bns_id */
		csi_ch = <2>;
		flite_ch = <2>;
		is_bns = <1>;
		status = "okay";
	};

	fimc_is_sensor3: fimc_is_sensor@14040000 {
		scenario = <0>;	/* Normal, Vision, OIS etc */
		id = <3>; /* bns_id */
		csi_ch = <3>;
		flite_ch = <3>;
		is_bns = <0>;
		status = "okay";
	};

	fimc_is@14200000 {
		rear_sensor_id = <104>;
		front_sensor_id = <21>;
		use_module_check;
		use_ois_hsi2c;
		use_ois;
		check_sensor_vendor;

		pinctrl-names = "default", "release";
		pinctrl-0 = <&fimc_is_flash_is &fimc_is_mclk0_out &fimc_is_mclk1_out &fimc_is_mclk2_out>;
		pinctrl-1 = <>;

		#define DVFS_INT_L0 560000
		#define DVFS_INT_L1 550000
		#define DVFS_INT_L2 540000
		#define DVFS_INT_L3 530000
		#define DVFS_INT_L4 520000
		#define DVFS_INT_L5 510000
		#define DVFS_INT_L6 500000

		#define DVFS_CAM_L0 540000
		#define DVFS_CAM_L1 530000
		#define DVFS_CAM_L2 520000
		#define DVFS_CAM_L3 510000
		#define DVFS_CAM_L4 500000

		#define DVFS_MIF_L0 1552000
		#define DVFS_MIF_L1 1456000
		#define DVFS_MIF_L2 1264000
		#define DVFS_MIF_L3 1068000
		#define DVFS_MIF_L4 828000
		#define DVFS_MIF_L5 632000

		fimc_is_dvfs {
			/* purebayer version */
			table1 {
				desc = "Pure bayer Version";

				default_int = <DVFS_INT_L0>;
				default_cam = <DVFS_CAM_L0>;
				default_mif = <DVFS_MIF_L1>;
				default_i2c = <0>;

				front_preview_int = <DVFS_INT_L0>;
				front_preview_cam = <DVFS_CAM_L0>;
				front_preview_mif = <DVFS_MIF_L1>;
				front_preview_i2c = <0>;

				front_capture_int = <DVFS_INT_L0>;
				front_capture_cam = <DVFS_CAM_L0>;
				front_capture_mif = <DVFS_MIF_L1>;
				front_capture_i2c = <0>;

				front_video_int = <DVFS_INT_L0>;
				front_video_cam = <DVFS_CAM_L0>;
				front_video_mif = <DVFS_MIF_L1>;
				front_video_i2c = <0>;

				front_video_whd_int = <DVFS_INT_L0>;
				front_video_whd_cam = <DVFS_CAM_L0>;
				front_video_whd_mif = <DVFS_MIF_L1>;
				front_video_whd_i2c = <0>;

				front_video_capture_int = <DVFS_INT_L0>;
				front_video_capture_cam = <DVFS_CAM_L0>;
				front_video_capture_mif = <DVFS_MIF_L1>;
				front_video_capture_i2c = <0>;

				front_video_whd_capture_int = <DVFS_INT_L0>;
				front_video_whd_capture_cam = <DVFS_CAM_L0>;
				front_video_whd_capture_mif = <DVFS_MIF_L1>;
				front_video_whd_capture_i2c = <0>;

				front_vt1_int = <DVFS_INT_L0>;
				front_vt1_cam = <DVFS_CAM_L0>;
				front_vt1_mif = <DVFS_MIF_L1>;
				front_vt1_i2c = <0>;

				front_vt2_int = <DVFS_INT_L0>;
				front_vt2_cam = <DVFS_CAM_L0>;
				front_vt2_mif = <DVFS_MIF_L1>;
				front_vt2_i2c = <0>;

				front_companion_preview_int = <DVFS_INT_L0>;
				front_companion_preview_cam = <DVFS_CAM_L0>;
				front_companion_preview_mif = <DVFS_MIF_L1>;
				front_companion_preview_i2c = <0>;

				front_companion_capture_int = <DVFS_INT_L0>;
				front_companion_capture_cam = <DVFS_CAM_L0>;
				front_companion_capture_mif = <DVFS_MIF_L1>;
				front_companion_capture_i2c = <0>;

				front_companion_video_int = <DVFS_INT_L0>;
				front_companion_video_cam = <DVFS_CAM_L0>;
				front_companion_video_mif = <DVFS_MIF_L1>;
				front_companion_video_i2c = <0>;

				front_companion_video_whd_int = <DVFS_INT_L0>;
				front_companion_video_whd_cam = <DVFS_CAM_L0>;
				front_companion_video_whd_mif = <DVFS_MIF_L1>;
				front_companion_video_whd_i2c = <0>;

				front_companion_video_capture_int = <DVFS_INT_L0>;
				front_companion_video_capture_cam = <DVFS_CAM_L0>;
				front_companion_video_capture_mif = <DVFS_MIF_L1>;
				front_companion_video_capture_i2c = <0>;

				front_companion_video_whd_capture_int = <DVFS_INT_L0>;
				front_companion_video_whd_capture_cam = <DVFS_CAM_L0>;
				front_companion_video_whd_capture_mif = <DVFS_MIF_L1>;
				front_companion_video_whd_capture_i2c = <0>;

				rear_preview_fhd_int = <DVFS_INT_L0>;
				rear_preview_fhd_cam = <DVFS_CAM_L0>;
				rear_preview_fhd_mif = <DVFS_MIF_L1>;
				rear_preview_fhd_i2c = <0>;

				rear_preview_whd_int = <DVFS_INT_L0>;
				rear_preview_whd_cam = <DVFS_CAM_L0>;
				rear_preview_whd_mif = <DVFS_MIF_L1>;
				rear_preview_whd_i2c = <0>;

				rear_preview_uhd_int = <DVFS_INT_L0>;
				rear_preview_uhd_cam = <DVFS_CAM_L0>;
				rear_preview_uhd_mif = <DVFS_MIF_L1>;
				rear_preview_uhd_i2c = <0>;

				rear_capture_int = <DVFS_INT_L0>;
				rear_capture_cam = <DVFS_CAM_L0>;
				rear_capture_mif = <DVFS_MIF_L1>;
				rear_capture_i2c = <0>;

				rear_video_fhd_int = <DVFS_INT_L0>;
				rear_video_fhd_cam = <DVFS_CAM_L0>;
				rear_video_fhd_mif = <DVFS_MIF_L1>;
				rear_video_fhd_i2c = <0>;

				rear_video_whd_int = <DVFS_INT_L0>;
				rear_video_whd_cam = <DVFS_CAM_L0>;
				rear_video_whd_mif = <DVFS_MIF_L1>;
				rear_video_whd_i2c = <0>;

				rear_video_uhd_int = <DVFS_INT_L0>;
				rear_video_uhd_cam = <DVFS_CAM_L0>;
				rear_video_uhd_mif = <DVFS_MIF_L1>;
				rear_video_uhd_i2c = <0>;

				rear_video_fhd_capture_int = <DVFS_INT_L0>;
				rear_video_fhd_capture_cam = <DVFS_CAM_L0>;
				rear_video_fhd_capture_mif = <DVFS_MIF_L1>;
				rear_video_fhd_capture_i2c = <0>;

				rear_video_whd_capture_int = <DVFS_INT_L0>;
				rear_video_whd_capture_cam = <DVFS_CAM_L0>;
				rear_video_whd_capture_mif = <DVFS_MIF_L1>;
				rear_video_whd_capture_i2c = <0>;

				rear_video_uhd_capture_int = <DVFS_INT_L0>;
				rear_video_uhd_capture_cam = <DVFS_CAM_L0>;
				rear_video_uhd_capture_mif = <DVFS_MIF_L1>;
				rear_video_uhd_capture_i2c = <0>;

				dual_preview_int = <DVFS_INT_L0>;
				dual_preview_cam = <DVFS_CAM_L0>;
				dual_preview_mif = <DVFS_MIF_L1>;
				dual_preview_i2c = <0>;

				dual_capture_int = <DVFS_INT_L0>;
				dual_capture_cam = <DVFS_CAM_L0>;
				dual_capture_mif = <DVFS_MIF_L1>;
				dual_capture_i2c = <0>;

				dual_video_int = <DVFS_INT_L0>;
				dual_video_cam = <DVFS_CAM_L0>;
				dual_video_mif = <DVFS_MIF_L1>;
				dual_video_i2c = <0>;

				dual_video_capture_int = <DVFS_INT_L0>;
				dual_video_capture_cam = <DVFS_CAM_L0>;
				dual_video_capture_mif = <DVFS_MIF_L1>;
				dual_video_capture_i2c = <0>;

				preview_high_speed_fps_int = <DVFS_INT_L0>;
				preview_high_speed_fps_cam = <DVFS_CAM_L0>;
				preview_high_speed_fps_mif = <DVFS_MIF_L1>;
				preview_high_speed_fps_i2c = <0>;

				video_high_speed_60fps_int = <DVFS_INT_L2>;
				video_high_speed_60fps_cam = <DVFS_CAM_L3>;
				video_high_speed_60fps_mif = <DVFS_MIF_L4>;
				video_high_speed_60fps_i2c = <0>;

				video_high_speed_120fps_int = <DVFS_INT_L1>;
				video_high_speed_120fps_cam = <DVFS_CAM_L3>;
				video_high_speed_120fps_mif = <DVFS_MIF_L1>;
				video_high_speed_120fps_i2c = <0>;

				video_high_speed_240fps_int = <DVFS_INT_L0>;
				video_high_speed_240fps_cam = <DVFS_CAM_L0>;
				video_high_speed_240fps_mif = <DVFS_MIF_L0>;
				video_high_speed_240fps_i2c = <0>;

				max_int = <DVFS_INT_L0>;
				max_cam = <DVFS_CAM_L0>;
				max_mif = <DVFS_MIF_L1>;
				max_i2c = <0>;
			};

			table2 {
				desc = "processed bayer 16MP version";

				default_int = <DVFS_INT_L4>;
				default_cam = <DVFS_CAM_L1>;
				default_mif = <DVFS_MIF_L4>;
				default_i2c = <0>;

				front_preview_int = <DVFS_INT_L3>;
				front_preview_cam = <DVFS_CAM_L4>;
				front_preview_mif = <DVFS_MIF_L4>;
				front_preview_i2c = <0>;

				front_capture_int = <DVFS_INT_L3>;
				front_capture_cam = <DVFS_CAM_L4>;
				front_capture_mif = <DVFS_MIF_L4>;
				front_capture_i2c = <0>;

				front_video_int = <DVFS_INT_L3>;
				front_video_cam = <DVFS_CAM_L4>;
				front_video_mif = <DVFS_MIF_L4>;
				front_video_i2c = <0>;

				front_video_whd_int = <DVFS_INT_L3>;
				front_video_whd_cam = <DVFS_CAM_L4>;
				front_video_whd_mif = <DVFS_MIF_L4>;
				front_video_whd_i2c = <0>;

				front_video_capture_int = <DVFS_INT_L3>;
				front_video_capture_cam = <DVFS_CAM_L4>;
				front_video_capture_mif = <DVFS_MIF_L4>;
				front_video_capture_i2c = <0>;

				front_video_whd_capture_int = <DVFS_INT_L3>;
				front_video_whd_capture_cam = <DVFS_CAM_L4>;
				front_video_whd_capture_mif = <DVFS_MIF_L4>;
				front_video_whd_capture_i2c = <0>;

				front_vt1_int = <DVFS_INT_L6>;
				front_vt1_cam = <DVFS_CAM_L4>;
				front_vt1_mif = <DVFS_MIF_L4>;
				front_vt1_i2c = <0>;

				front_vt2_int = <DVFS_INT_L6>;
				front_vt2_cam = <DVFS_CAM_L4>;
				front_vt2_mif = <DVFS_MIF_L4>;
				front_vt2_i2c = <0>;

				front_companion_preview_int = <DVFS_INT_L3>;
				front_companion_preview_cam = <DVFS_CAM_L4>;
				front_companion_preview_mif = <DVFS_MIF_L4>;
				front_companion_preview_i2c = <0>;

				front_companion_capture_int = <DVFS_INT_L3>;
				front_companion_capture_cam = <DVFS_CAM_L4>;
				front_companion_capture_mif = <DVFS_MIF_L4>;
				front_companion_capture_i2c = <0>;

				front_companion_video_int = <DVFS_INT_L3>;
				front_companion_video_cam = <DVFS_CAM_L4>;
				front_companion_video_mif = <DVFS_MIF_L4>;
				front_companion_video_i2c = <0>;

				front_companion_video_whd_int = <DVFS_INT_L3>;
				front_companion_video_whd_cam = <DVFS_CAM_L4>;
				front_companion_video_whd_mif = <DVFS_MIF_L4>;
				front_companion_video_whd_i2c = <0>;

				front_companion_video_capture_int = <DVFS_INT_L3>;
				front_companion_video_capture_cam = <DVFS_CAM_L4>;
				front_companion_video_capture_mif = <DVFS_MIF_L4>;
				front_companion_video_capture_i2c = <0>;

				front_companion_video_whd_capture_int = <DVFS_INT_L3>;
				front_companion_video_whd_capture_cam = <DVFS_CAM_L4>;
				front_companion_video_whd_capture_mif = <DVFS_MIF_L4>;
				front_companion_video_whd_capture_i2c = <0>;

				rear_preview_fhd_int = <DVFS_INT_L4>;
				rear_preview_fhd_cam = <DVFS_CAM_L1>;
				rear_preview_fhd_mif = <DVFS_MIF_L4>;
				rear_preview_fhd_i2c = <0>;

				rear_preview_whd_int = <DVFS_INT_L4>;
				rear_preview_whd_cam = <DVFS_CAM_L1>;
				rear_preview_whd_mif = <DVFS_MIF_L4>;
				rear_preview_whd_i2c = <0>;

				rear_preview_uhd_int = <DVFS_INT_L1>;
				rear_preview_uhd_cam = <DVFS_CAM_L1>;
				rear_preview_uhd_mif = <DVFS_MIF_L4>;
				rear_preview_uhd_i2c = <0>;

				rear_capture_int = <DVFS_INT_L4>;
				rear_capture_cam = <DVFS_CAM_L1>;
				rear_capture_mif = <DVFS_MIF_L4>;
				rear_capture_i2c = <0>;

				rear_video_fhd_int = <DVFS_INT_L5>;
				rear_video_fhd_cam = <DVFS_CAM_L1>;
				rear_video_fhd_mif = <DVFS_MIF_L4>;
				rear_video_fhd_i2c = <0>;

				rear_video_whd_int = <DVFS_INT_L5>;
				rear_video_whd_cam = <DVFS_CAM_L1>;
				rear_video_whd_mif = <DVFS_MIF_L4>;
				rear_video_whd_i2c = <0>;

				rear_video_uhd_int = <DVFS_INT_L1>;
				rear_video_uhd_cam = <DVFS_CAM_L1>;
				rear_video_uhd_mif = <DVFS_MIF_L4>;
				rear_video_uhd_i2c = <0>;

				rear_video_fhd_capture_int = <DVFS_INT_L5>;
				rear_video_fhd_capture_cam = <DVFS_CAM_L1>;
				rear_video_fhd_capture_mif = <DVFS_MIF_L4>;
				rear_video_fhd_capture_i2c = <0>;

				rear_video_whd_capture_int = <DVFS_INT_L5>;
				rear_video_whd_capture_cam = <DVFS_CAM_L1>;
				rear_video_whd_capture_mif = <DVFS_MIF_L4>;
				rear_video_whd_capture_i2c = <0>;

				rear_video_uhd_capture_int = <DVFS_INT_L1>;
				rear_video_uhd_capture_cam = <DVFS_CAM_L1>;
				rear_video_uhd_capture_mif = <DVFS_MIF_L4>;
				rear_video_uhd_capture_i2c = <0>;

				dual_preview_int = <DVFS_INT_L2>;
				dual_preview_cam = <DVFS_CAM_L2>;
				dual_preview_mif = <DVFS_MIF_L4>;
				dual_preview_i2c = <0>;

				dual_capture_int = <DVFS_INT_L2>;
				dual_capture_cam = <DVFS_CAM_L2>;
				dual_capture_mif = <DVFS_MIF_L4>;
				dual_capture_i2c = <0>;

				dual_video_int = <DVFS_INT_L5>;
				dual_video_cam = <DVFS_CAM_L2>;
				dual_video_mif = <DVFS_MIF_L4>;
				dual_video_i2c = <0>;

				dual_video_capture_int = <DVFS_INT_L5>;
				dual_video_capture_cam = <DVFS_CAM_L2>;
				dual_video_capture_mif = <DVFS_MIF_L4>;
				dual_video_capture_i2c = <0>;

				preview_high_speed_fps_int = <DVFS_INT_L2>;
				preview_high_speed_fps_cam = <DVFS_CAM_L3>;
				preview_high_speed_fps_mif = <DVFS_MIF_L4>;
				preview_high_speed_fps_i2c = <0>;

				video_high_speed_60fps_int = <DVFS_INT_L2>;
				video_high_speed_60fps_cam = <DVFS_CAM_L1>;
				video_high_speed_60fps_mif = <DVFS_MIF_L4>;
				video_high_speed_60fps_i2c = <0>;

				video_high_speed_120fps_int = <DVFS_INT_L2>;
				video_high_speed_120fps_cam = <DVFS_CAM_L3>;
				video_high_speed_120fps_mif = <DVFS_MIF_L3>;
				video_high_speed_120fps_i2c = <0>;

				video_high_speed_240fps_int = <DVFS_INT_L1>;
				video_high_speed_240fps_cam = <DVFS_CAM_L3>;
				video_high_speed_240fps_mif = <DVFS_MIF_L1>;
				video_high_speed_240fps_i2c = <0>;

				max_int = <DVFS_INT_L0>;
				max_cam = <DVFS_CAM_L0>;
				max_mif = <DVFS_MIF_L1>;
				max_i2c = <0>;
			};
		};
	};


	pinctrl@13470000 {
		fimc_is_ois: fimc-is-ois {
			samsung,pins = "gpc2-5", "gpc2-4";
			samsung,pin-function = <1>;
			samsung,pin-pud = <0>;
			samsung,pin-drv = <0>;
		};
		fimc_is_ois_hsi2c_on: fimc-is-ois-hsi2c-on {
			samsung,pins = "gpb0-3", "gpb0-2";
			samsung,pin-function = <2>;
			samsung,pin-pud = <0>;
			samsung,pin-drv = <0>;
		};
		fimc_is_hsi2c_off: fimc-is-hsi2c-off {
			samsung,pins = "gpb0-3", "gpb0-2";
			samsung,pin-function = <0>;
			samsung,pin-pud = <0>;
			samsung,pin-drv = <3>;
		};
	};

	pcie1@157B0000 {
		status = "okay";
	};

	pinctrl@15690000{
		simslot_irq: simslot-irq {
			samsung,pins = "gpr3-3";
			samsung,pin-function = <0xf>;
			samsung,pin-pud = <0>;
			samsung,pin-drv = <0>;
		};
	};

	bluetooth {
		compatible = "broadcom,bcm4358";
		gpios = <&gpf4 1 0	/*BT_EN*/
				&gpr3 4 0	/*BT_WAKE*/
				&gpa2 1 0xF	/*BT_HOST_WAKE*/ >;
		pinctrl-names = "default";
		pinctrl-0=<&bt_hostwake &bt_btwake &bt_en>;
		status = "okay";
	};

	mipi-lli@10F24000 {
		status = "okay";
		memory-region = <&mipi_lli_reserved>;
		modem-name = "ss333";
		modems {
			ss300 {
				/* disable scrambler */
				scrambler = <0>;
				/* do not control automode by AP */
				automode = <0>;
			};

			ss303 {
				/* disable scrambler */
				scrambler = <0>;
				/* do not control automode by AP */
				automode = <0>;
			};

			ss333 {
				/* disable scrambler */
				scrambler = <0>;
				/* do not control automode by AP */
				automode = <0>;
			};

			xmm7260 {
				/* disable scrambler */
				scrambler = <0>;
				/* do not control automode by AP */
				automode = <0>;
			};
		};

		mphy {
			modem-name = "ss333";
			modems {
				ss300 {
					/* initial-gear is HS-G1 */
					init-gear = <2 1 1>;
					/* use shared reference clock for MPHY */
					shd-refclk = <1>;
				};

				ss303 {
					/* initial-gear is HS-G1 */
					init-gear = <2 1 1>;
					/* use shared reference clock for MPHY */
					shd-refclk = <1>;
				};

				ss333 {
					/* initial-gear is HS-G1 */
					init-gear = <2 1 1>;
					/* use shared reference clock for MPHY */
					shd-refclk = <1>;
				};

				xmm7260 {
					/* initial-gear is HS-G1 */
					init-gear = <2 1 1>;
					/* use shared reference clock for MPHY */
					shd-refclk = <1>;
				};
			};
		};
	};

	wlan {
		compatible = "samsung,brcm-wlan";
		gpios = <&gpf4 6 0x1 /* WLAN_EN */
				&gpa2 3 0x1 /* WLAN HOST WAKE GPIO_0 */>;
		pinctrl-names = "default";
		pinctrl-0 = <&cfg_wlanen &wlan_host_wake>;
		status = "okay";
	};

	secgpio_dvs {
		compatible = "samsung,exynos7420-secgpio-dvs";
		status = "okay";
	};

	ufs@0x15570000 {
		ufs,pmd-attr-mode = "FAST";
		ufs,pmd-attr-lane = /bits/ 8 <2>;
		ufs,pmd-attr-gear = /bits/ 8 <2>;
		ufs,pmd-attr-hs-series = "HS_rate_b";
		ufs-opts-skip-connection-estab;
		ufs-rx-adv-fine-gran-sup_en = <1>;
		ufs-rx-adv-fine-gran-step = <3>;
		ufs-rx-adv-min-activate-time-cap = <14>;
		ufs-pa-granularity = <6>;
		ufs-pa-tacctivate = <3>;
		ufs-pa-hibern8time = <20>;

		vcc-supply = <&ufs_fixed_vcc>;
		vccq-supply = <&ufs_fixed_vccq>;
		vccq2-supply = <&ufs_fixed_vccq2>;
		vcc-fixed-regulator;
		vccq-fixed-regulator;
		vccq2-fixed-regulator;

		ufs-cap-clk-gating;
		ufs-cap-hibern8-with-clk-gating;
	};

	ufs_fixed_vcc: fixedregulator@0 {
		compatible = "regulator-fixed";
		regulator-name = "ufs-vcc";
		gpio = <&gph1 4 0>;
		enable-active-high;
		regulator-boot-on;
	};

	ufs_fixed_vccq: fixedregulator@1 {
		compatible = "regulator-fixed";
		regulator-name = "ufs-vccq";
		gpio = <&gph1 4 0>;
		enable-active-high;
		regulator-boot-on;
	};

	ufs_fixed_vccq2: fixedregulator@2 {
		 compatible = "regulator-fixed";
		 regulator-name = "ufs-vccq2";
		 gpio = <&gph1 4 0>;
		 enable-active-high;
		 startup-delay-us = <2000>;
		 endup-delay-us = <2000>;
		 regulator-boot-on;
	};

	sec_thermistor@0 {
		compatible = "samsung,sec-ap-thermistor";
		status = "okay";

		adc_array = <290 298 306 314 322 330 339 348 357 366
			375 386 397 408 419 430 447 464 481 498
			515 535 554 574 593 613 628 642 657 672
			686 709 733 756 780 803 832 861 891 920
			949 981 1013 1045 1077 1109 1144 1179 1215 1250
			1285 1323 1361 1398 1436 1474 1518 1562 1607 1651
			1695 1740 1786 1831 1877 1922 1969 2017 2064 2112
			2159 2207 2255 2302 2350 2398 2442 2486 2530 2574
			2618 2667 2716 2765 2814 2863 2904 2945 2986 3027
			3068 3107 3147 3186 3224 3262 3295 3328 3361 3394
			3427 3457 3487 3516 3546 3576 3600 3624 3648 3672
			3696>;
		temp_array = <900 890 880 870 860 850 840 830 820 810
			800 790 780 770 760 750 740 730 720 710
			700 690 680 670 660 650 640 630 620 610
			600 590 580 570 560 550 540 530 520 510
			500 490 480 470 460 450 440 430 420 410
			400 390 380 370 360 350 340 330 320 310
			300 290 280 270 260 250 240 230 220 210
			200 190 180 170 160 150 140 130 120 110
			100 90 80 70 60 50 40 30 20 10
			0 (-10) (-20) (-30) (-40) (-50) (-60) (-70) (-80) (-90)
			(-100)(-110)(-120)(-130)(-140)(-150)(-160)(-170)(-180)(-190)
			(-200)>;

		io-channels = <&exynos_adc 0>;
		io-channel-names = "adc-ap-temp";
		io-channel-ranges;
	};

	sec_thermistor@2 {
		compatible = "samsung,sec-pa-thermistor";
		status = "okay";

		adc_array = <215 224 234 243 253 262 271 281 290 300
			309 322 335 348 361 374 389 404 418 433
			448 465 482 499 516 533 553 573 594 614
			634 658 682 705 729 753 780 807 833 860
			887 918 948 979 1009 1040 1076 1112 1147 1183
			1219 1257 1295 1332 1370 1408 1448 1489 1529 1570
			1610 1653 1696 1739 1782 1825 1869 1913 1957 2001
			2045 2090 2134 2179 2223 2268 2310 2352 2395 2437
			2479 2520 2561 2601 2642 2683 2720 2757 2793 2830
			2867 2903 2939 2975 3011 3047 3077 3106 3136 3165
			3195 3221 3247 3274 3300 3326 3348 3370 3392 3414
			3436>;
		temp_array = <900 890 880 870 860 850 840 830 820 810
			800 790 780 770 760 750 740 730 720 710
			700 690 680 670 660 650 640 630 620 610
			600 590 580 570 560 550 540 530 520 510
			500 490 480 470 460 450 440 430 420 410
			400 390 380 370 360 350 340 330 320 310
			300 290 280 270 260 250 240 230 220 210
			200 190 180 170 160 150 140 130 120 110
			100 90 80 70 60 50 40 30 20 10
			0 (-10) (-20) (-30) (-40) (-50) (-60) (-70) (-80) (-90)
			(-100)(-110)(-120)(-130)(-140)(-150)(-160)(-170)(-180)(-190)
			(-200)>;

		io-channels = <&exynos_adc 2>;
		io-channel-names = "adc-pa-temp";
		io-channel-ranges;
	};

	argos {
		compatible = "samsung,argos";
		#address-cells = <1>;
		/*  The device number should be assigned for each device, e.g. "boot_device@1" and "boot_device@2".
		 * Duplicated number is not allowed. Please refer the below example. */

		/* Table Format should be
		 * <Throughput(Mbps) ARM_min ARM_max KFC_min KFC_max MIF INT Task IRQ HMP_boost>
		 * ARM_min : Big Core's minimum frequency lock. 0 means not set,
		 * ARM_max : Big Core's maximum frequency lock. 0 means not set,
		 * KFC_min : Little Core's minimum frequency lock. 0 means not set,
		 * KFC_max : Little Core's maximum frequency lock. 0 means not set,
		 * MIF : MIF frequency lock. 0 means not set,
		 * INT : INT frequency lock. 0 means not set,
		 * Task : 1 - Set task affinity lock.
		 *	0 - Not set or unlock,
		 *		Task affinity should be predefined driver's code.
		 * IRQ : 1 - Set irq affinity lock.
		 *       0 - Not set or unlock,
		 *		Task affinity should be predefined driver's code.
		 * HMP_boots : 1 - Increase hmp boosting count
		 *             0 - Decrease hmp boosting count
		 */
		boot_device@1 {
			net_boost,label="IPC";
			net_boost,node="rmnet0 rmnet1 rmnet2 rmnet3 rmnet4 rmnet5 rmnet6 rmnet7";
			net_boost,table_size = <2>;
			net_boost,table= <
				100 0 0 1100000 0 825000 100000 0 1 0
				130 0 0 1300000 0 825000 100000 0 1 0
				>;
		};
		/* Example
		boot_device@2 {
			net_boost,label="EMMC";
			net_boost,node="";
			net_boost,sysnode="/sys/class/mmc_host/mmc0/trans_count";
			net_boost,table_size = <1>;
			net_boost,table= <64 0 0 1300000 0 825000 400000 0 0>;
		};
		*/
		boot_device@2 {
			net_boost,label="UFS";
			net_boost,node="";
			net_boost,sysnode="/sys/class/scsi_host/host0/transferred_cnt";
			net_boost,table_size = <1>;
			net_boost,table= <64 0 0 1300000 0 1264000 400000 0 0 0>;
		};
		boot_device@3 {
			net_boost,label="P2P";
			net_boost,node="p2p-wlan0-0";
			net_boost,table_size = <3>;
			net_boost,table= <
				30 1000000 0 800000 0 0 200000 0 0 0
				50 1200000 0 1000000 0 0 200000 0 0 0
				90 1700000 0 1200000 0 543000 267000 0 0 1
				>;
		};
		boot_device@4 {
			net_boost,label="WIFI";
			net_boost,node="wlan0";
			net_boost,table_size = <3>;
			net_boost,table= <
				60 1000000 0 800000 0 0 200000 0 0 0
				100 1200000 0 1000000 0 0 200000 0 0 0
				180 1896000 0 1500000 0 543000 267000 1 1 1
				>;
		};
		boot_device@5 {
			net_boost,label="CLAT";
			net_boost,node="clat clat4";
			net_boost,table_size = <3>;
			net_boost,table= <
				120 1400000 0 0 0 825000 0 0 0 0
				130 1500000 0 0 0 825000 0 0 0 0
				150 1600000 0 0 0 825000 0 0 0 0
				>;
		};

		boot_device@6 {
			net_boost,label="QIPC";
			net_boost,node="rmnet_data0 rmnet_data1 rmnet_data2 rmnet_data3 rmnet_data4 rmnet_data5 rmnet_data6 rmnet_data7";
			net_boost,table_size = <2>;
			net_boost,table= <
				10 0 0 1104000 0 825000 100000 0 1 0 /* 10Mbps little core 1.1G */
				100 0 0 1500000 0 825000 100000 0 1 0 /* 100Mbps little core 1.5G */
				>;
		};
	};

	input_booster {
		status = "okay";
		compatible = "input_booster";
		#address-cells = <1>;
		#size-cells = <0>;

		booster_key@1 {
			input_booster,label = "KEY";
			input_booster,type = <0>;	/* BOOSTER_DEVICE_KEY */

			input_booster,levels = <1>;

			/* Frequency table */
			/* for level	:	1_Head */
			input_booster,cpu_freqs = <1200000>;
			input_booster,hmp_boost = <1>;
			input_booster,kfc_freqs = <0>;
			input_booster,mif_freqs = <0>;
			input_booster,int_freqs = <0>;

			/* Time table */
			input_booster,head_times = <500>;
			input_booster,tail_times = <500>;
			input_booster,phase_times = <0>;
		};
		booster_key@2 {
			input_booster,label = "TOUCHKEY";
			input_booster,type = <1>;	/* BOOSTER_DEVICE_TOUCHKEY */

			input_booster,levels = <1>;

			/* Frequency table */
			/* for level	:	1_Head */
			input_booster,cpu_freqs = <1200000>;
			input_booster,hmp_boost = <1>;
			input_booster,kfc_freqs = <0>;
			input_booster,mif_freqs = <0>;
			input_booster,int_freqs = <0>;

			/* Time table */
			input_booster,head_times = <0>;
			input_booster,tail_times = <200>;
			input_booster,phase_times = <0>;
		};
		booster_key@3 {
			input_booster,label = "TOUCH";
			input_booster,type = <2>;	/* BOOSTER_DEVICE_TOUCH */

			input_booster,levels = <1 2 3>;

			/* Frequency table */
			/* for level	:	1_Head, 2_Head, 2_Tail */
			input_booster,cpu_freqs = <1200000 1200000 0>;
			input_booster,hmp_boost = <1 1 0>;
			input_booster,kfc_freqs = <800000 800000 1000000>;
			input_booster,mif_freqs = <0 0 0>;
			input_booster,int_freqs = <0 0 0>;

			/* Time table */
			input_booster,head_times = <130 130 0>;
			input_booster,tail_times = <500 500 0>;
			input_booster,phase_times = <0 0 0>;
		};
		/* If you need to add new key type, add it this position */
	};

	simslot_count {
		status = "disabled";
		compatible = "simslot_count";
		pinctrl-names = "default";
		pinctrl-0 = <&simslot_irq>;
		gpios = <&gpr3 3 0>;
	};
};
